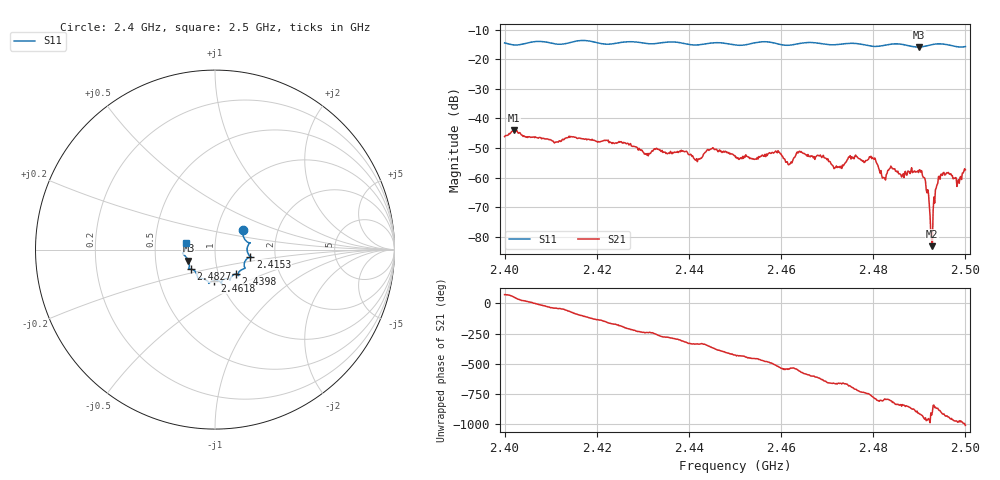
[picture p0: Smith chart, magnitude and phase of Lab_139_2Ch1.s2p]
# Hz S RI R 50
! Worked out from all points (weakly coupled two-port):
!   601 points, 2.4 GHz to 2.5 GHz, reference 50 ohm
!   highest |S21| = -43.89 dB at 2.402 GHz (marker M1); lowest = -83.1 dB at 2.4928 GHz (marker M2)
!   lowest |S11| = -15.9 dB at 2.4898 GHz (marker M3), VSWR 1.38, Z = 36.8 - j4.61 ohm
!   |S11| at or under -10 dB: start of sweep to end of sweep
!   S12 and S22 are empty: the file has one direction only
!   S11 on the Smith chart (normalised r, x): 2.4 GHz: 1.33, +0.30; 2.4153 GHz: 1.48, -0.12; 2.4398 GHz: 1.21, -0.34; 2.4618 GHz: 0.94, -0.33; 2.4827 GHz: 0.75, -0.17; 2.5 GHz: 0.72, +0.06
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2.4e9  0.1551 0.1071  0.00146 0.00473  0 0  0 0
2.402e9  0.1577 0.0743  0.00387 0.00508  0 0  0 0
2.415333e9  0.1969 -0.0394  0.000302 -0.00482  0 0  0 0
2.416667e9  0.2026 -0.0436  -0.000711 -0.00453  0 0  0 0
2.433333e9  0.1299 -0.1337  -0.00032 0.00302  0 0  0 0
2.439833e9  0.1155 -0.1361  0.00218 0.0012  0 0  0 0
2.45e9  0.0649 -0.1621  0.000896 -0.00218  0 0  0 0
2.459167e9  0.0295 -0.1799  -0.00249 -0.000885  0 0  0 0
2.461833e9  -0.00284 -0.1725  -0.0017 8.87e-05  0 0  0 0
2.466667e9  -0.0342 -0.1883  -0.00109 0.00203  0 0  0 0
2.472e9  -0.0703 -0.1615  0.000862 0.00133  0 0  0 0
2.479833e9  -0.1088 -0.1247  0.00133 -0.00175  0 0  0 0
2.482667e9  -0.135 -0.1087  0.000239 -0.000882  0 0  0 0
2.483333e9  -0.1402 -0.1084  0.000311 -0.0013  0 0  0 0
2.489833e9  -0.1483 -0.061  -0.00121 0.00018  0 0  0 0
2.4915e9  -0.1628 -0.0388  -0.000204 0.000596  0 0  0 0
2.492333e9  -0.1708 -0.0309  -7.55e-06 0.000225  0 0  0 0
2.492833e9  -0.1747 -0.0273  -6.99e-05 -9.58e-08  0 0  0 0
2.493667e9  -0.1794 -0.0232  -0.00057 -0.00036  0 0  0 0
2.494667e9  -0.1803 -0.0201  -0.00114 -2.25e-05  0 0  0 0
2.498667e9  -0.1603 0.0152  -0.000257 0.000766  0 0  0 0
2.5e9  -0.159 0.0386  0.00048 0.00127  0 0  0 0
